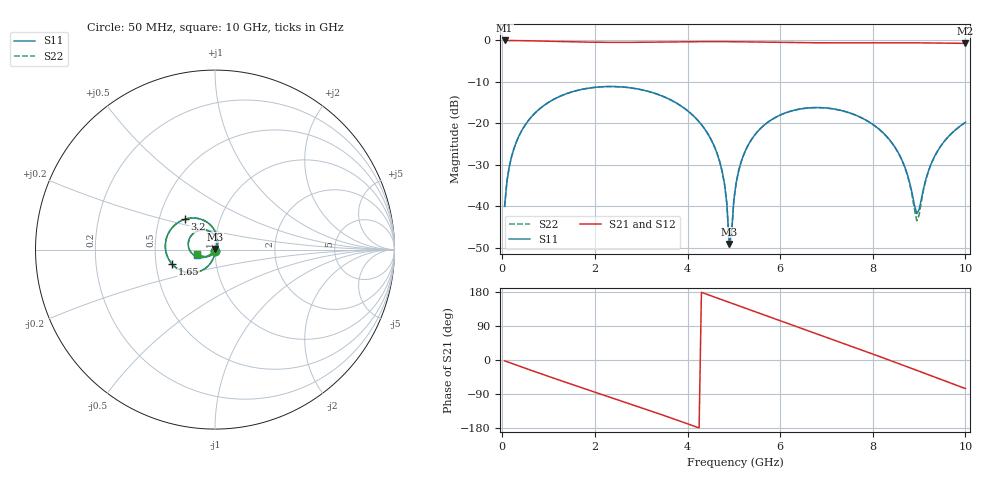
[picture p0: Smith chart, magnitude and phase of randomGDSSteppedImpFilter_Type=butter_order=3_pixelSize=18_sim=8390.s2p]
! freq	dB(S11)	phase(S11)	dB(S12)	phase(S12)
!  dB(S21)	phase(S21)	dB(S22)	phase(S22)
!S-par simulation data
#  GHz  S  DB  R 50
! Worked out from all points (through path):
!   200 points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, 50 MHz to 10 GHz, reference 50 ohm
!   highest |S21| = 0.00 dB at 50 MHz (marker M1); lowest = -0.7 dB at 10 GHz (marker M2)
!   group delay of S21, straight-line fit = 121 ps
!   lowest |S11| = -49.1 dB at 4.9 GHz (marker M3), VSWR 1.01, Z = 50 + j0.35 ohm
!   |S11| at or under -10 dB: start of sweep to end of sweep
!   |S22| runs from -49.6 to -11.1 dB; largest |S21 - S12| = 0
!   S11 on the Smith chart (normalised r, x): 50 MHz: 1.00, -0.02; 1.65 GHz: 0.61, -0.11; 3.2 GHz: 0.68, +0.24; 10 GHz: 0.82, -0.05
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0.05  -40.02 -91.9  -0.00 -2.2  -0.00 -2.2  -40.02 -91.9
0.2  -28.04 -99.3  -0.02 -8.8  -0.02 -8.8  -28.04 -99.3
0.45  -21.17 -110.1  -0.06 -19.7  -0.06 -19.7  -21.17 -110.1
1.65  -11.97 -161.2  -0.36 -70.5  -0.36 -70.5  -11.97 -161.3
1.75  -11.73 -165.4  -0.39 -74.6  -0.39 -74.6  -11.73 -165.4
3.2  -12.44 135.2  -0.42 -134.2  -0.42 -134.2  -12.44 135.1
3.4  -13.18 126.8  -0.39 -142.6  -0.39 -142.6  -13.18 126.7
4.55  -24.84 78.0  -0.29 167.5  -0.29 167.5  -24.84 77.6
4.8  -34.75 70.0  -0.30 156.5  -0.30 156.5  -34.77 68.5
4.85  -39.42 71.2  -0.30 154.3  -0.30 154.3  -39.47 68.4
4.9  -49.08 95.0  -0.30 152.0  -0.30 152.0  -49.61 89.9
4.95  -46.58 -139.1  -0.31 149.8  -0.31 149.8  -46.84 -132.8
5.05  -34.35 -129.7  -0.32 145.4  -0.32 145.4  -34.37 -128.1
5.25  -26.57 -136.0  -0.34 136.6  -0.34 136.6  -26.57 -135.3
5.6  -20.97 -150.6  -0.40 121.1  -0.40 121.1  -20.98 -150.2
6.7  -16.21 161.4  -0.56 73.1  -0.56 73.1  -16.21 161.7
7.6  -17.88 120.6  -0.57 33.6  -0.57 33.6  -17.88 121.1
8.35  -23.80 82.7  -0.56 0.0  -0.56 0.0  -23.82 83.8
8.7  -30.76 57.4  -0.57 -15.9  -0.57 -15.9  -30.88 60.1
8.95  -41.76 -20.1  -0.58 -27.3  -0.58 -27.3  -43.46 -19.0
9.35  -27.63 -126.5  -0.62 -45.6  -0.62 -45.6  -27.67 -128.6
10  -19.77 -164.4  -0.71 -75.5  -0.71 -75.5  -19.76 -165.3
